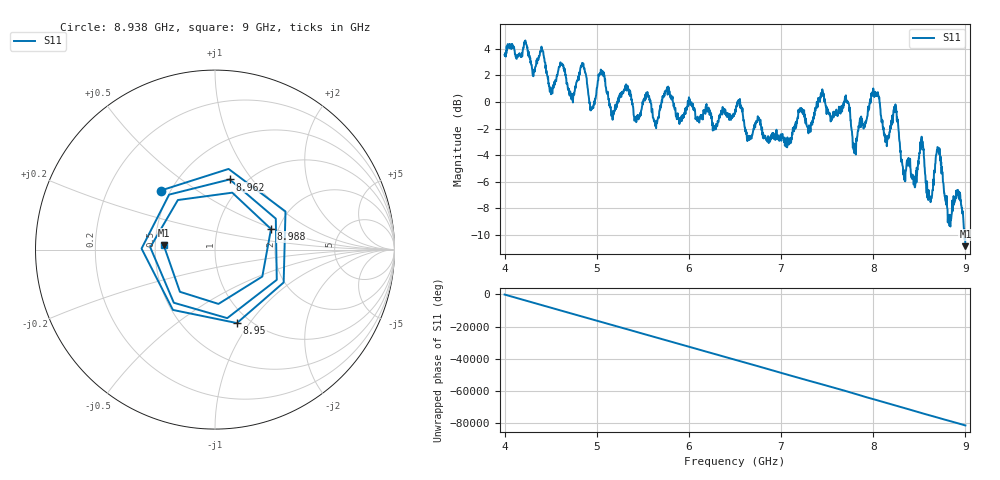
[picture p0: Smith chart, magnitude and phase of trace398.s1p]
! Created with skrf 1.8.0 (http://scikit-rf.org).
# Hz S RI R 50.0
!freq ReS11 ImS11
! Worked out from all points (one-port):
!   1601 points, 4 GHz to 9 GHz, reference 50 ohm
!   lowest |S11| = -10.9 dB at 9 GHz (marker M1), VSWR 1.80, Z = 27.8 + j1.41 ohm
!   |S11| at or under -10 dB: 8.98964 GHz to end of sweep
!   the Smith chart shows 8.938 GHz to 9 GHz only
!   S11 on the Smith chart (normalised r, x): 8.938 GHz: 0.44, +0.36; 8.95 GHz: 0.87, -0.87; 8.962 GHz: 0.84, +0.79; 8.988 GHz: 1.83, +0.47; 9 GHz: 0.56, +0.03
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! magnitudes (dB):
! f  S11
! 4 GHz  3.5
! 4.406 GHz  4.0
! 4.506 GHz  0.7
! 4.625 GHz  2.9
! 4.731 GHz  0.6
! 4.853 GHz  2.9
! 4.944 GHz  -0.5
! 5.047 GHz  2.3
! 5.162 GHz  -1.0
! 5.25 GHz  0.6
! 5.875 GHz  -1.1
! 6.5 GHz  -0.9
! 7.125 GHz  -2.3
! 7.438 GHz  0.7
! 7.75 GHz  -0.9
! 7.803 GHz  -3.6
! 8.041 GHz  0.5
! 8.244 GHz  -0.3
! 8.375 GHz  -4.8
! 8.528 GHz  -3.2
! 8.612 GHz  -7.1
! 8.706 GHz  -3.6
! 8.825 GHz  -8.9
! 8.938 GHz  -7.0
! 8.95 GHz  -7.4
! 8.962 GHz  -8.0
! 8.988 GHz  -9.6
! 9 GHz  -10.9
